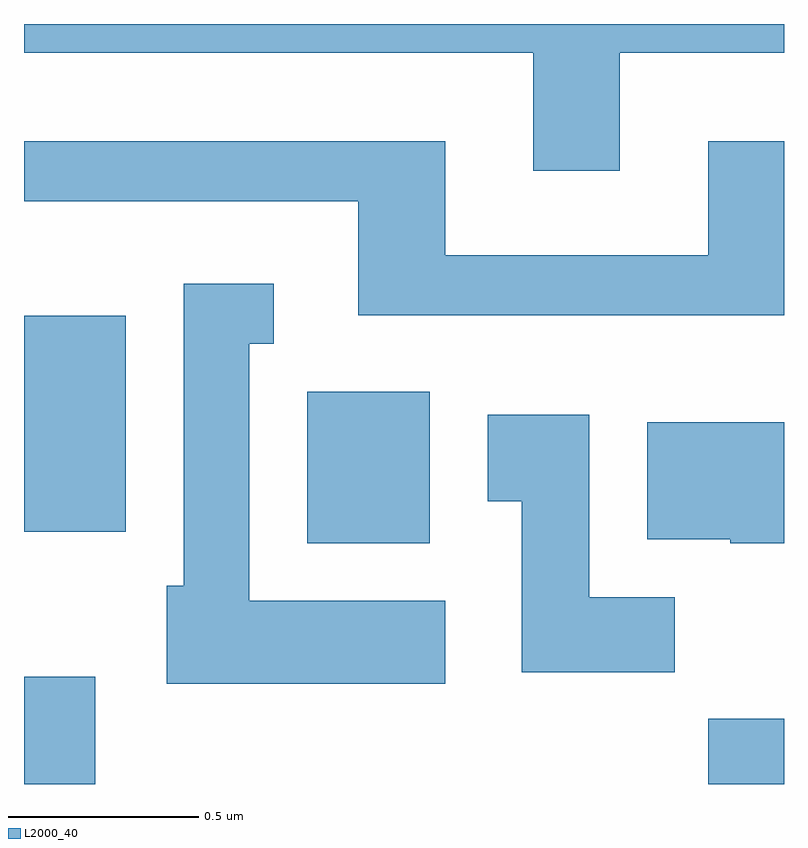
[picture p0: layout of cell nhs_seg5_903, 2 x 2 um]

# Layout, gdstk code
import gdstk
lib = gdstk.Library(unit=1e-6, precision=1e-09)
def R(c, l, rs):  # rectangles x0, y0, x1, y1
    for r in rs: c.add(gdstk.rectangle(r[:2], r[2:], *l))
def P(c, l, *ps):  # polygons
    for p in ps: c.add(gdstk.Polygon(p, *l))
L2000_40 = (2000, 40)

nhs_seg5_903 = lib.new_cell('nhs_seg5_903')
R(nhs_seg5_903, L2000_40, [(191.611,1477.072,191.799,1477.354), (193.411,1477.072,193.611,1477.244), (192.356,1477.706,192.679,1478.104), (191.611,1477.736,191.879,1478.304)])
P(nhs_seg5_903, L2000_40, [(193.179,1478.996),(193.611,1478.996),(193.611,1479.072),(191.611,1479.072),(191.611,1478.996),(192.951,1478.996),(192.951,1478.686),(193.179,1478.686)],
  [(193.611,1478.764),(193.411,1478.764),(193.411,1478.464),(192.719,1478.464),(192.719,1478.764),(191.611,1478.764),(191.611,1478.606),(192.491,1478.606),(192.491,1478.306),(193.611,1478.306)],
  [(192.719,1477.554),(192.204,1477.554),(192.204,1478.231),(192.268,1478.231),(192.268,1478.389),(192.031,1478.389),(192.031,1477.594),(191.986,1477.594),(191.986,1477.336),(192.719,1477.336)],
  [(193.324,1477.564),(193.099,1477.564),(193.099,1478.044),(192.831,1478.044),(192.831,1477.816),(192.921,1477.816),(192.921,1477.366),(193.324,1477.366)],
  [(193.611,1478.024),(193.251,1478.024),(193.251,1477.716),(193.47,1477.716),(193.47,1477.706),(193.611,1477.706)])

lib.write_gds('nhs_seg5_903.gds')
